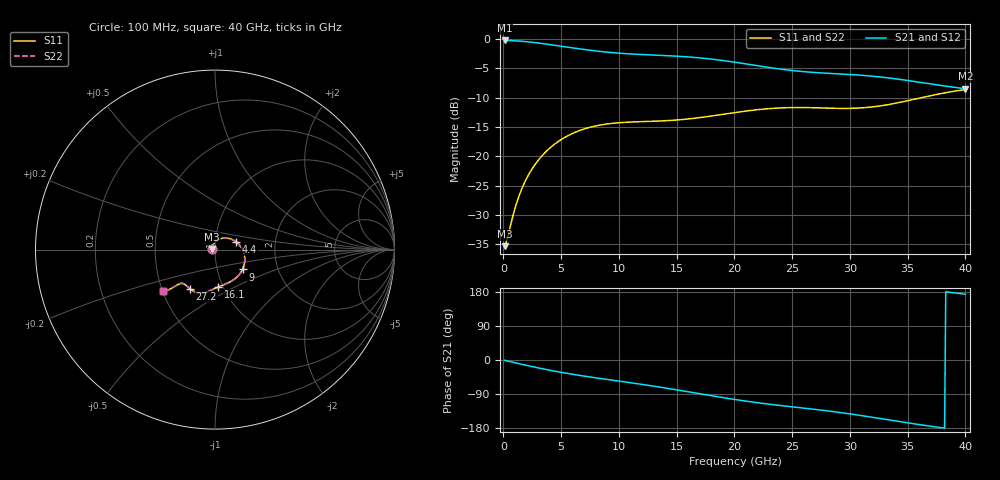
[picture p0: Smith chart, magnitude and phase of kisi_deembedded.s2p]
! D_s8_stitch_5p0: kisi-fdtd, de-embedded with the 2×thru
# Hz S RI R 50
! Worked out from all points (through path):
!   400 points, 100 MHz to 40 GHz, reference 50 ohm
!   highest |S21| = -0.23 dB at 100 MHz (marker M1); lowest = -8.5 dB at 40 GHz (marker M2)
!   group delay of S21, straight-line fit = 12.5 ps
!   lowest |S11| = -35.3 dB at 100 MHz (marker M3), VSWR 1.03, Z = 48.4 + j0.367 ohm
!   |S11| at or under -10 dB: start of sweep to 36.19 GHz
!   |S22| runs from -35.3 to -8.6 dB; largest |S21 - S12| = 2e-07
!   S11 on the Smith chart (normalised r, x): 100 MHz: 0.97, +0.01; 4.4 GHz: 1.27, +0.11; 9 GHz: 1.32, -0.30; 16.1 GHz: 0.95, -0.41; 27.2 GHz: 0.69, -0.32; 40 GHz: 0.50, -0.27
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1e8  -0.0167 0.0038  0.9734 -0.0124  0.9734 -0.0124  -0.0167 0.0038
3e8  -0.0157 0.0113  0.9723 -0.0372  0.9723 -0.0372  -0.0157 0.0113
1.1e9  -0.00254 0.0387  0.9568 -0.1339  0.9568 -0.1339  -0.00254 0.0387
1.5e9  0.00883 0.0495  0.943 -0.1797  0.943 -0.1797  0.00883 0.0495
1.9e9  0.0226 0.0575  0.9259 -0.2232  0.9259 -0.2232  0.0226 0.0575
3e9  0.0665 0.064  0.8659 -0.3287  0.8659 -0.3287  0.0665 0.064
4.4e9  0.1193 0.0418  0.7742 -0.4323  0.7742 -0.4323  0.1193 0.0418
5.5e9  0.1483 0.00873  0.6991 -0.4923  0.6991 -0.4923  0.1483 0.00873
6.8e9  0.1645 -0.0375  0.6132 -0.5444  0.6132 -0.5444  0.1645 -0.0375
9e9  0.1534 -0.1104  0.4823 -0.6044  0.4823 -0.6044  0.1534 -0.1104
1.11e10  0.1155 -0.1588  0.3687 -0.6484  0.3687 -0.6484  0.1155 -0.1588
1.34e10  0.0668 -0.1883  0.2389 -0.6875  0.2389 -0.6875  0.0668 -0.1883
1.61e10  0.0184 -0.208  0.0689 -0.6999  0.0689 -0.6999  0.0184 -0.208
1.8e10  -0.00924 -0.2205  -0.0495 -0.6735  -0.0495 -0.6735  -0.00924 -0.2205
2.01e10  -0.0375 -0.2336  -0.1589 -0.6137  -0.1589 -0.6137  -0.0375 -0.2336
2.27e10  -0.0744 -0.2426  -0.249 -0.5221  -0.249 -0.5221  -0.0744 -0.2426
2.67e10  -0.1335 -0.2229  -0.3298 -0.4032  -0.3298 -0.4032  -0.1335 -0.2229
2.72e10  -0.1399 -0.2181  -0.3393 -0.3899  -0.3393 -0.3899  -0.1399 -0.2181
3.06e10  -0.1737 -0.1904  -0.4042 -0.2846  -0.4042 -0.2846  -0.1737 -0.1904
3.34e10  -0.1998 -0.1918  -0.4325 -0.1727  -0.4325 -0.1727  -0.1998 -0.1918
3.68e10  -0.2436 -0.2166  -0.4148 -0.0441  -0.4148 -0.0441  -0.2436 -0.2166
4e10  -0.288 -0.2333  -0.3749 0.0421  -0.3749 0.0421  -0.288 -0.2333
